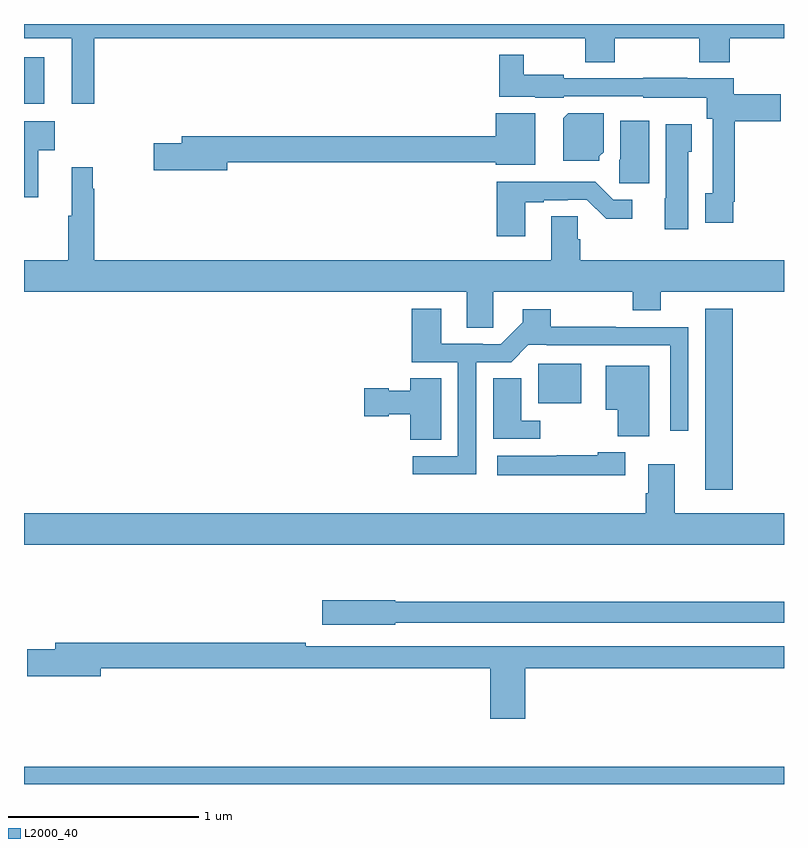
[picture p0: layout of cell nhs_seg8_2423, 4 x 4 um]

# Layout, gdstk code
import gdstk
lib = gdstk.Library(unit=1e-6, precision=1e-09)
def R(c, l, rs):  # rectangles x0, y0, x1, y1
    for r in rs: c.add(gdstk.rectangle(r[:2], r[2:], *l))
def P(c, l, *ps):  # polygons
    for p in ps: c.add(gdstk.Polygon(p, *l))
L2000_40 = (2000, 40)

nhs_seg8_2423 = lib.new_cell('nhs_seg8_2423')
R(nhs_seg8_2423, L2000_40, [(263,1121.9,267,1121.992), (266.585,1123.449,266.729,1124.401), (265.706,1123.904,265.933,1124.113), (263,1125.479,263.107,1125.724)])
P(nhs_seg8_2423, L2000_40, [(263,1125.824),(263.252,1125.824),(263.252,1125.48),(263.369,1125.48),(263.369,1125.824),(265.954,1125.824),(265.954,1125.7),(266.109,1125.7),(266.109,1125.824),(266.554,1125.824),(266.554,1125.7),(266.714,1125.7),(266.714,1125.824),(267,1125.824),(267,1125.9),(263,1125.9)],
  [(266.734,1124.965),(266.741,1124.965),(266.741,1125.389),(266.983,1125.389),(266.983,1125.531),(266.735,1125.531),(266.735,1125.615),(266.491,1125.615),(266.491,1125.617),(266.259,1125.617),(266.259,1125.615),(265.842,1125.615),(265.842,1125.634),(265.63,1125.634),(265.63,1125.739),(265.501,1125.739),(265.501,1125.518),(265.692,1125.518),(265.692,1125.512),(265.842,1125.512),(265.842,1125.519),(266.259,1125.519),(266.259,1125.512),(266.594,1125.512),(266.594,1125.401),(266.625,1125.401),(266.625,1125.009),(266.585,1125.009),(266.585,1124.853),(266.734,1124.853)],
  [(266.028,1125.204),(266.05,1125.226),(266.05,1125.43),(265.864,1125.43),(265.838,1125.404),(265.838,1125.179),(266.028,1125.179)],
  [(264.07,1125.172),(265.484,1125.172),(265.484,1125.158),(265.69,1125.158),(265.69,1125.43),(265.484,1125.43),(265.484,1125.308),(263.831,1125.308),(263.831,1125.272),(263.682,1125.272),(263.682,1125.13),(264.07,1125.13)],
  [(266.29,1125.391),(266.138,1125.391),(266.138,1125.186),(266.134,1125.186),(266.134,1125.063),(266.29,1125.063)],
  [(263.075,1125.236),(263.161,1125.236),(263.161,1125.388),(263,1125.388),(263,1124.988),(263.075,1124.988)],
  [(266.497,1125.228),(266.515,1125.228),(266.515,1125.373),(266.378,1125.373),(266.378,1124.982),(266.372,1124.982),(266.372,1124.82),(266.497,1124.82)],
  [(265.47,1124.492),(266.203,1124.492),(266.203,1124.393),(266.35,1124.393),(266.35,1124.492),(267,1124.492),(267,1124.656),(265.928,1124.656),(265.928,1124.766),(265.914,1124.766),(265.914,1124.888),(265.775,1124.888),(265.775,1124.656),(263.369,1124.656),(263.369,1125.032),(263.362,1125.032),(263.362,1125.145),(263.252,1125.145),(263.252,1124.892),(263.233,1124.892),(263.233,1124.656),(263,1124.656),(263,1124.492),(265.331,1124.492),(265.331,1124.302),(265.47,1124.302)],
  [(265.639,1124.961),(265.735,1124.961),(265.735,1124.973),(265.862,1124.973),(265.862,1124.976),(265.962,1124.976),(266.065,1124.874),(266.2,1124.874),(266.2,1124.976),(266.1,1124.976),(266.006,1125.07),(265.487,1125.07),(265.487,1124.784),(265.639,1124.784)],
  [(265.38,1124.121),(265.564,1124.121),(265.654,1124.211),(265.75,1124.211),(265.75,1124.208),(266.4,1124.208),(266.4,1123.758),(266.496,1123.758),(266.496,1124.304),(266.114,1124.304),(266.114,1124.306),(265.773,1124.306),(265.773,1124.398),(265.625,1124.398),(265.625,1124.33),(265.509,1124.214),(265.415,1124.214),(265.415,1124.217),(265.195,1124.217),(265.195,1124.401),(265.04,1124.401),(265.04,1124.121),(265.284,1124.121),(265.284,1123.626),(265.047,1123.626),(265.047,1123.529),(265.38,1123.529)],
  [(266.29,1124.101),(266.063,1124.101),(266.063,1123.871),(266.125,1123.871),(266.125,1123.731),(266.29,1123.731)],
  [(265.195,1124.036),(265.034,1124.036),(265.034,1123.969),(264.921,1123.969),(264.921,1123.982),(264.792,1123.982),(264.792,1123.835),(264.921,1123.835),(264.921,1123.847),(265.034,1123.847),(265.034,1123.711),(265.195,1123.711)],
  [(265.717,1123.812),(265.618,1123.812),(265.618,1124.036),(265.469,1124.036),(265.469,1123.716),(265.717,1123.716)],
  [(266.164,1123.645),(266.019,1123.645),(266.019,1123.63),(265.804,1123.63),(265.804,1123.627),(265.491,1123.627),(265.491,1123.526),(266.164,1123.526)],
  [(267,1123.324),(266.425,1123.324),(266.425,1123.582),(266.285,1123.582),(266.285,1123.43),(266.273,1123.43),(266.273,1123.324),(263,1123.324),(263,1123.16),(267,1123.16)],
  [(264.954,1122.75),(267,1122.75),(267,1122.859),(264.954,1122.859),(264.954,1122.867),(264.57,1122.867),(264.57,1122.737),(264.954,1122.737)],
  [(265.637,1122.508),(267,1122.508),(267,1122.624),(264.482,1122.624),(264.482,1122.644),(263.165,1122.644),(263.165,1122.608),(263.016,1122.608),(263.016,1122.466),(263.404,1122.466),(263.404,1122.508),(265.454,1122.508),(265.454,1122.243),(265.637,1122.243)])

lib.write_gds('nhs_seg8_2423.gds')
